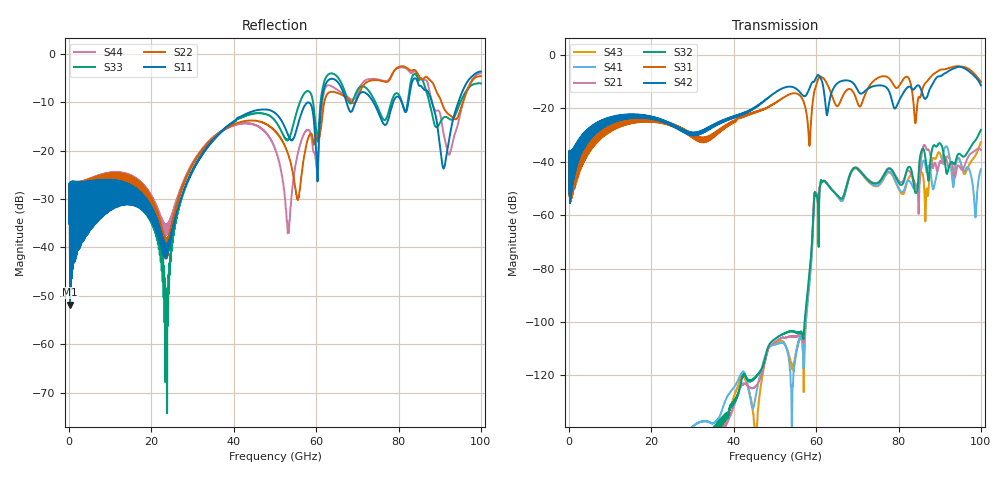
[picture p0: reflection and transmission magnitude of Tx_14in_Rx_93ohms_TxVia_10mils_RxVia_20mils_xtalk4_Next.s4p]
! Info: Touchstone file created by Circ.  Input file=Tx_14in_Rx_93ohms_TxVia_10mils_RxVia_20mils.circ
# Hz S RI R 50
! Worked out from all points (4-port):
!   10000 points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, 10 MHz to 100 GHz, reference 50 ohm
!   strongest paths, dB at 10 MHz, 25.01 GHz, 50.01 GHz, 75.01 GHz, 100 GHz:
!     S42: -52.0, -25.8, -14.1, -11.4, -11.4
!     S31: -52.7, -25.7, -17.9, -8.6, -10.0
!     S32: -, -152.7, -106.3, -48.0, -28.1
!     S21: -, -161.4, -107.3, -47.7, -35.6
!     S41: -154.7, -152.8, -108.5, -48.8, -42.8
!     S43: -155.5, -156.6, -108.0, -49.1, -32.6
!   lowest |S11| = -51.8 dB at 230 MHz (marker M1), VSWR 1.01, Z = 49.8 - j0.166 ohm
!   |S11| at or under -10 dB: start of sweep to 57.98 GHz; 73.9 GHz to 78.68 GHz (4.777 GHz wide, 6.26 % of centre); 88.13 GHz to 94.51 GHz (6.381 GHz wide, 6.99 % of centre)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
1e7  0.0175 -0.00199  1.04e-12 -5.47e-12  0.000511 0.00226  -6.08e-09 1.73e-08
     1.04e-12 -5.47e-12  0.0185 -0.00221  -8.81e-13 -6.81e-12  0.000535 0.00247
     0.000511 0.00226  -8.81e-13 -6.81e-12  0.0188 -0.00143  -3.75e-09 1.64e-08
     -6.08e-09 1.73e-08  0.000535 0.00247  -3.75e-09 1.64e-08  0.0181 -0.00221
2.3e8  -0.00196 -0.00166  1.92e-12 -8.07e-11  0.00155 0.00338  6.49e-12 -3.98e-11
       1.92e-12 -8.07e-11  -0.002 -0.0016  -1.31e-11 -4.97e-11  0.00147 0.00341
       0.00155 0.00338  -1.31e-11 -4.97e-11  -0.00205 -0.0017  8.62e-13 -8.03e-11
       6.49e-12 -3.98e-11  0.00147 0.00341  8.62e-13 -8.03e-11  -0.00197 -0.00159
2.362e10  0.000749 0.00816  3.68e-09 6.88e-09  0.0235 -0.0512  -7e-09 6.77e-09
          3.68e-09 6.88e-09  -0.00818 -0.00733  1.6e-08 1.23e-08  -0.00537 -0.0569
          0.0235 -0.0512  1.6e-08 1.23e-08  -0.000713 -6.39e-05  -2.54e-09 1.04e-08
          -7e-09 6.77e-09  -0.00537 -0.0569  -2.54e-09 1.04e-08  -0.0116 -0.0111
3.208e10  -0.0261 0.0853  4.31e-09 -8.54e-09  -0.0259 0.00225  -1.31e-07 4.09e-08
          4.31e-09 -8.54e-09  0.00807 0.098  1.15e-08 -2.5e-08  -0.0157 0.0337
          -0.0259 0.00225  1.15e-08 -2.5e-08  -0.0354 0.0836  -2.63e-08 1.56e-08
          -1.31e-07 4.09e-08  -0.0157 0.0337  -2.63e-08 1.56e-08  0.00421 0.1023
5.801e10  0.1698 -0.2668  2.75e-05 2.52e-05  0.0348 0.033  1.5e-05 2.17e-05
          2.75e-05 2.52e-05  -0.1004 0.0878  3.25e-05 2.75e-05  0.1206 0.1636
          0.0348 0.033  3.25e-05 2.75e-05  0.2681 -0.3162  1.74e-05 2.32e-05
          1.5e-05 2.17e-05  0.1206 0.1636  1.74e-05 2.32e-05  -0.1642 -0.0104
6.154e10  0.3153 -0.1882  -0.00412 -0.00104  0.3254 0.1917  -0.00411 -0.000947
          -0.00412 -0.00104  -0.1713 -0.1692  -0.00414 -0.000902  0.0965 -0.2803
          0.3254 0.1917  -0.00414 -0.000902  0.3452 -0.2628  -0.00413 -0.000802
          -0.00411 -0.000947  0.0965 -0.2803  -0.00413 -0.000802  -0.2667 -0.188
1e11  -0.6565 0.0598  -0.00835 0.0144  0.054 0.3115  0.00693 0.00198
      -0.00835 0.0144  -0.5906 0.0351  -0.0221 -0.0328  0.0996 0.2504
      0.054 0.3115  -0.0221 -0.0328  -0.4926 0.0603  -0.0209 0.0104
      0.00693 0.00198  0.0996 0.2504  -0.0209 0.0104  -0.6304 0.0836
